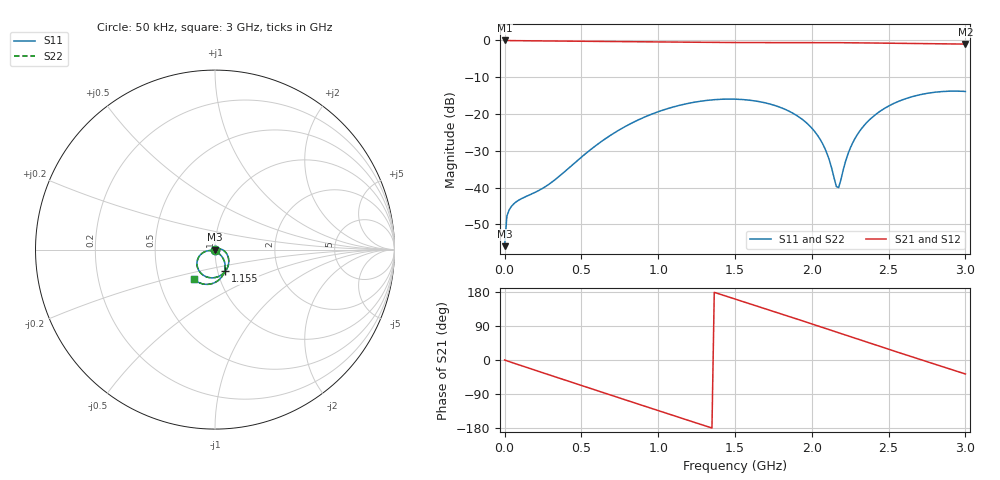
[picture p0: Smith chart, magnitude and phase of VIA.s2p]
! VIA: top 20 mm, via to bottom 10 mm, via back to top 20 mm; GND stitching vias beside each signal via
! Predicted from examples/coupon/si-coupon.tsx by scripts/predict-coupon.tsx (routed 2.5D ladder, 111 series cells, ngspice AC).
! SMA pads enter as parallel-plate C; connector bodies are not modelled, so compare through the FIX2X 2x-thru.
! Port order: J7, J8.
# HZ S RI R 50
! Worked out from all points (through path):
!   201 points, 50 kHz to 3 GHz, reference 50 ohm
!   highest |S21| = -0.01 dB at 50 kHz (marker M1); lowest = -1.0 dB at 3 GHz (marker M2)
!   group delay of S21, straight-line fit = 367 ps
!   lowest |S11| = -55.9 dB at 50 kHz (marker M3), VSWR 1.00, Z = 50.2 + j0.00447 ohm
!   |S11| at or under -10 dB: start of sweep to end of sweep
!   |S22| runs from -55.9 to -13.8 dB; largest |S21 - S12| = 0
!   S11 on the Smith chart (normalised r, x): 50 kHz: 1.00, +0.00; 1.155 GHz: 1.09, -0.27; 3 GHz: 0.75, -0.26
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50000  0.00159 4.46e-05  0.9984 -0.000169  0.9984 -0.000169  0.00159 4.46e-05
1.504975e7  0.00383 0.00151  0.995 -0.0377  0.995 -0.0377  0.00383 0.00151
4.504925e7  0.00524 0.00186  0.9874 -0.1088  0.9874 -0.1088  0.00524 0.00186
2.550458e8  0.00971 0.00224  0.8105 -0.5576  0.8105 -0.5576  0.00971 0.00224
5.100415e8  0.0266 0.00433  0.3571 -0.9071  0.3571 -0.9071  0.0266 0.00433
7.500375e8  0.0594 -0.0151  -0.1746 -0.9503  -0.1746 -0.9503  0.0594 -0.0151
1.005033e9  0.076 -0.077  -0.6657 -0.685  -0.6657 -0.685  0.076 -0.077
1.155031e9  0.0577 -0.1204  -0.8517 -0.4166  -0.8517 -0.4166  0.0577 -0.1204
1.320028e9  0.0124 -0.1526  -0.9381 -0.0731  -0.9381 -0.0731  0.0124 -0.1526
1.500025e9  -0.0493 -0.1511  -0.8843 0.3048  -0.8843 0.3048  -0.0493 -0.1511
1.80002e9  -0.1 -0.0695  -0.4911 0.7932  -0.4911 0.7932  -0.1 -0.0695
2.010016e9  -0.0594 -0.0129  -0.0643 0.931  -0.0643 0.931  -0.0594 -0.0129
2.085015e9  -0.0336 -0.00581  0.0985 0.9274  0.0985 0.9274  -0.0336 -0.00581
2.115015e9  -0.0226 -0.00562  0.1631 0.9178  0.1631 0.9178  -0.0226 -0.00562
2.160014e9  -0.00609 -0.00829  0.2583 0.8948  0.2583 0.8948  -0.00609 -0.00829
2.175014e9  -0.000693 -0.00997  0.2895 0.8848  0.2895 0.8848  -0.000693 -0.00997
2.235013e9  0.0196 -0.0205  0.4097 0.834  0.4097 0.834  0.0196 -0.0205
2.295012e9  0.0367 -0.0366  0.5211 0.7665  0.5211 0.7665  0.0367 -0.0366
2.38501e9  0.0532 -0.0687  0.6663 0.6378  0.6663 0.6378  0.0532 -0.0687
2.505008e9  0.0536 -0.1182  0.8097 0.4264  0.8097 0.4264  0.0536 -0.1182
2.745004e9  -0.0151 -0.1892  0.8981 -0.0591  0.8981 -0.0591  -0.0151 -0.1892
3e9  -0.1179 -0.1644  0.713 -0.5354  0.713 -0.5354  -0.1179 -0.1644
